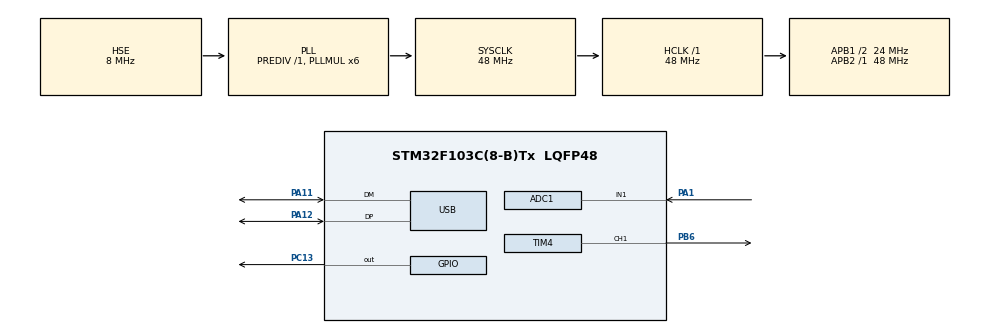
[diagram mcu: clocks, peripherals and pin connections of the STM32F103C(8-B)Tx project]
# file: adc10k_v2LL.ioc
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ADC1.Channel-0\#ChannelRegularConversion=ADC_CHANNEL_1
ADC1.ContinuousConvMode=DISABLE
ADC1.ExternalTrigConv=ADC_EXTERNALTRIGCONV_T3_TRGO
ADC1.NbrOfConversion=1
ADC1.NbrOfConversionFlag=1
ADC1.Rank-0\#ChannelRegularConversion=1
ADC1.SamplingTime-0\#ChannelRegularConversion=ADC_SAMPLETIME_55CYCLES_5
ADC1.master=1
Dma.ADC1.0.Direction=DMA_PERIPH_TO_MEMORY
Dma.ADC1.0.Instance=DMA1_Channel1
Dma.ADC1.0.MemDataAlignment=DMA_MDATAALIGN_HALFWORD
Dma.ADC1.0.MemInc=DMA_MINC_ENABLE
Dma.ADC1.0.Mode=DMA_CIRCULAR
Dma.ADC1.0.PeriphDataAlignment=DMA_PDATAALIGN_HALFWORD
Dma.ADC1.0.PeriphInc=DMA_PINC_DISABLE
Dma.ADC1.0.Priority=DMA_PRIORITY_LOW
Dma.Request0=ADC1
Mcu.Family=STM32F1
Mcu.Name=STM32F103C(8-B)Tx
Mcu.Package=LQFP48
NVIC.DMA1_Channel1_IRQn=true\:0\:0\:false\:false\:true\:false\:true
NVIC.PriorityGroup=NVIC_PRIORITYGROUP_4
NVIC.USB_LP_CAN1_RX0_IRQn=true\:0\:0\:false\:false\:true\:false\:true
PA1.Signal=ADCx_IN1
PA11.Mode=Device
PA11.Signal=USB_DM
PA12.Mode=Device
PA12.Signal=USB_DP
PA13.Mode=Serial_Wire
PA13.Signal=SYS_JTMS-SWDIO
PA14.Mode=Serial_Wire
PA14.Signal=SYS_JTCK-SWCLK
PB6.GPIO_ModeDefaultPP=GPIO_MODE_AF_PP
PB6.GPIO_Speed=GPIO_SPEED_FREQ_LOW
PB6.Signal=S_TIM4_CH1
PC13-TAMPER-RTC.Signal=GPIO_Output
PC14-OSC32_IN.Mode=LSE-External-Oscillator
PC14-OSC32_IN.Signal=RCC_OSC32_IN
PC15-OSC32_OUT.Mode=LSE-External-Oscillator
PC15-OSC32_OUT.Signal=RCC_OSC32_OUT
PD0-OSC_IN.Mode=HSE-External-Oscillator
PD0-OSC_IN.Signal=RCC_OSC_IN
PD1-OSC_OUT.Mode=HSE-External-Oscillator
PD1-OSC_OUT.Signal=RCC_OSC_OUT
ProjectManager.HeapSize=0x200
ProjectManager.StackSize=0x400
ProjectManager.TargetToolchain=MDK-ARM V5.27
RCC.ADCPresc=RCC_ADCPCLK2_DIV4
RCC.AHBFreq_Value=48000000
RCC.APB1CLKDivider=RCC_HCLK_DIV2
RCC.APB1Freq_Value=24000000
RCC.APB1TimFreq_Value=48000000
RCC.APB2Freq_Value=48000000
RCC.APB2TimFreq_Value=48000000
RCC.HCLKFreq_Value=48000000
RCC.PLLMUL=RCC_PLL_MUL6
RCC.PLLSourceVirtual=RCC_PLLSOURCE_HSE
RCC.SYSCLKFreq_VALUE=48000000
RCC.SYSCLKSource=RCC_SYSCLKSOURCE_PLLCLK
RCC.USBFreq_Value=48000000
SH.ADCx_IN1.0=ADC1_IN1,IN1
SH.S_TIM4_CH1.0=TIM4_CH1,PWM Generation1 CH1
TIM3.AutoReloadPreload=TIM_AUTORELOAD_PRELOAD_DISABLE
TIM3.Channel-Output\ Compare4\ No\ Output=TIM_CHANNEL_4
TIM3.Period=10
TIM3.Prescaler=480
TIM3.TIM_MasterOutputTrigger=TIM_TRGO_UPDATE
TIM4.Channel-PWM\ Generation1\ CH1=TIM_CHANNEL_1
TIM4.OCFastMode_PWM-PWM\ Generation1\ CH1=TIM_OCFAST_ENABLE
TIM4.Period=1000
TIM4.Prescaler=480
USB_DEVICE.CLASS_NAME_FS=CDC
USB_DEVICE.VirtualMode=Cdc
USB_DEVICE.VirtualModeFS=Cdc_FS
VP_TIM3_VS_ClockSourceINT.Mode=Internal
VP_TIM3_VS_no_output4.Mode=Output Compare4 No Output
VP_TIM4_VS_ClockSourceINT.Mode=Internal
VP_USB_DEVICE_VS_USB_DEVICE_CDC_FS.Mode=CDC_FS
board=custom

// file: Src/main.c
/* USER CODE BEGIN Header */
/**
  ******************************************************************************
  * @author         : Andrei Cherny
  * @file           : main.c
  * @brief          : Test STM32F103C8 program body
  ******************************************************************************
  * @details
  * Назначение программы:
  * С частотой 10 кГц, по таймеру, программа опрашивает один канал ADC
  * Результаты измерений помещаются в буфер с использованием DMA
  * По заполнению буфера (100 слов), вычисляется среднее значение за 10 мс
  * Полученное среднее значение выводится PWM на один из выводов.
  * Вычисляется среднее значение измерений за 1с и выводится через USB, на VCP в текстовом виде
  * Это же среднее значение выводится через SWO (по отладке) в среду Keil uVision.
  * Благодаря STM32CubeMX все делается достаточно просто. Большая часть программирования выполненна автоматической средой.
  * Ручной код получается очень компактным и весь сосредоточен в файле main.c .
  * Принцип работы платы очень прост. На вход ADC1 IN1 (PA1, pin11) поступает измеряемое напряжение. С помощью таймера TIM3 channel 4
  * организован циклический опрос ADC1 IN1 с частотой 10 кГц и загрузкой измеренных значений с помощью DMA1 в буфер. По заполнению буфера
  * вызывается HAL_ADC_ConvCpltCallback() и переводит переменную convCompleted в True.
  * После чего находим среднее арифметическое bufferADC за 10 мс.
  * Полученное значение мы выводим через pin PB6 используя PWM реализованный на таймере TIM4 channel 1.
  * Проведя 100 циклов по 10 мс мы находим среднее значение за 1с мы выводим результат через USB VCP в текстовом виде, в формате типа "1500 mV \r".
  * Вывод результата мы дублируем в окно отладчика Keil через SWD.
  * @attention
  *
  * <h2><center>&copy; Copyright (c) 2020 Andrei Cherny.
  * All rights reserved.</center></h2>
  *
  * This software component is licensed by Andrei Cherny under Ultimate Liberty license
  * SLA0044, the "License"; You may not use this file except in compliance with
  * the License. You may obtain a copy of the License at:
  *                             www.st.com/SLA0044
  *
  ******************************************************************************
*/
/* USER CODE END Header */

#include "main.h"
#include "usb_device.h"

/* USER CODE BEGIN Includes */
#include "string.h"
#include "usbd_cdc_if.h"
/* USER CODE END Includes */

/* USER CODE BEGIN PD */
#define DMA_BUFF_SIZE 100
/* USER CODE END PD */

ADC_HandleTypeDef hadc1;
DMA_HandleTypeDef hdma_adc1;

TIM_HandleTypeDef htim3;
TIM_HandleTypeDef htim4;

/* USER CODE BEGIN PV */
uint32_t sum100point;
uint16_t bufferADC[DMA_BUFF_SIZE];
volatile uint8_t convCompleted;
/* USER CODE END PV */

void SystemClock_Config(void);
static void MX_GPIO_Init(void);
static void MX_DMA_Init(void);
static void MX_ADC1_Init(void);
static void MX_TIM3_Init(void);
static void MX_TIM4_Init(void);
/* USER CODE BEGIN PFP */
// кусок для SWO
#include <stdio.h>
#define ITM_Port8(n)    (*((volatile unsigned char *)(0xE0000000+4*n)))
#define ITM_Port16(n)   (*((volatile unsigned short*)(0xE0000000+4*n)))
#define ITM_Port32(n)   (*((volatile unsigned long *)(0xE0000000+4*n)))
#define DEMCR           (*((volatile unsigned long *)(0xE000EDFC)))
#define TRCENA          0x01000000

struct __FILE { int handle; /* Add whatever you need here */ };
FILE __stdout;
FILE __stdin;

int fputc(int ch, FILE *f) {
   if (DEMCR & TRCENA) {

while (ITM_Port32(0) == 0);
    ITM_Port8(0) = ch;
  }
  return(ch);
}
/* USER CODE END PFP */

/**
  * @brief   Точка входа в программу
  * @retval int
  */
int main(void)
{
  /* USER CODE BEGIN 1 */
	float summ,value100;
	char bufForUSB[80];
	TIM_OC_InitTypeDef sConfigOC = {0};
    /* USER CODE END 1 */

  /* MCU Configuration--------------------------------------------------------*/

  /* Reset of all peripherals, Initializes the Flash interface and the Systick. */
  HAL_Init();

  /* Configure the system clock */
  SystemClock_Config();

  /*!
  Инициализируем всю периферию используя сгенерированные STM32CubeMX коды
  MX_GPIO_Init()       - выходы кристала
  MX_DMA_Init()        - канал DMA
  MX_USB_DEVICE_Init() - USB
  MX_ADC1_Init()       - АЦП
  MX_TIM3_Init()       - Таймер 3
  MX_TIM4_Init()       - Таймер 4
  */
  MX_GPIO_Init();
  MX_DMA_Init();
  MX_USB_DEVICE_Init();
  MX_ADC1_Init();
  MX_TIM3_Init();
  MX_TIM4_Init();
/* USER CODE BEGIN 2 */
/*!
Настраиваем ассоциированный с ADC1 канал DMA1
@param[out] bufferADC Целевая область памяти для DMA1
@param[in] hadc1 Дескриптор ADC1
@param[in] DMA_BUFF_SIZE Количество измерений и размер буффера
*/
  HAL_ADC_Start_DMA(&hadc1, (uint32_t*)bufferADC, DMA_BUFF_SIZE); // запускаем ADC
  HAL_TIM_Base_Start(&htim3); // пускаем таймер ADC
/*!
Настраиваем ассоциированный с PWM канал 1 на таймере 4
выходной сигнал имеем на ножке PB6
@param[in] sConfigOC.Pulse Уровень выходного сигнала
@param[in] htim4 Дескриптор таймера TIM4
*/
  sConfigOC.OCMode = TIM_OCMODE_PWM1; // настраиваем ШИМ
  sConfigOC.Pulse = 0;
  sConfigOC.OCPolarity = TIM_OCPOLARITY_HIGH;
  sConfigOC.OCFastMode = TIM_OCFAST_ENABLE;
  HAL_TIM_PWM_ConfigChannel(&htim4, &sConfigOC, TIM_CHANNEL_1);
  HAL_TIM_PWM_Start(&htim4, TIM_CHANNEL_1); // запускаем ШИМ

	 /* USER CODE END 2 */

  /* Infinite loop */
  while (1)
  {

    /* USER CODE BEGIN 3 */
/*! в задании не оговаривалась особая точность временных интервалов,
1 с отслеживаем как последовательность 10 мс интервалов
усредняем 100 10мс средних значения (1с) и выводим через USB-VPC
@param  sum100point аккумулятор и среднее значение ADC1 за 10 мс
@param  value100    среднее значение ADC1 за 10 мс в мВ
@param  summ        аккумулятор и среднее значение ADC1 в мВ за 1 с
*/
		sum100point =0;
		summ = 0;
		for (int j=0; j++<100;){
		while(!convCompleted); // ждем готовность измерений
		convCompleted = 0; // сбрасываем флаг готовности
		sum100point =0;
		for(int i = 0; i < DMA_BUFF_SIZE; i++)
		{
			sum100point = bufferADC[i];
		}
		sum100point /=100; // среднее за 10 мс в единицах
		value100 = (float)(sum100point * 3300 ) / 4095.;// нормируем по опорному
		summ += value100;
		// устанавливаем уровень ШИМ, пересчет масштаба не требуется
		 sConfigOC.Pulse = sum100point;
		 HAL_TIM_PWM_ConfigChannel(&htim4, &sConfigOC, TIM_CHANNEL_1);
	  }
		// кидаем результат на USB
		summ /=100;
		snprintf(bufForUSB, 80, " %f  mV \r", summ );
		CDC_Transmit_FS((uint8_t*)bufForUSB, strlen(bufForUSB));
		// дублируем вывод на SWD
		 printf("%s", bufForUSB);
	}
  /* USER CODE END 3 */
}

/**
  * @brief ADC CallBack function
  * @retval None
  */
void HAL_ADC_ConvCpltCallback(ADC_HandleTypeDef* hadc) {
    convCompleted = 1;
}

void SystemClock_Config(void)
{
  RCC_OscInitTypeDef RCC_OscInitStruct = {0};
  RCC_ClkInitTypeDef RCC_ClkInitStruct = {0};
  RCC_PeriphCLKInitTypeDef PeriphClkInit = {0};

  /** Initializes the CPU, AHB and APB busses clocks
  */
  RCC_OscInitStruct.OscillatorType = RCC_OSCILLATORTYPE_HSE;
  RCC_OscInitStruct.HSEState = RCC_HSE_ON;
  RCC_OscInitStruct.HSEPredivValue = RCC_HSE_PREDIV_DIV1;
  RCC_OscInitStruct.HSIState = RCC_HSI_ON;
  RCC_OscInitStruct.PLL.PLLState = RCC_PLL_ON;
  RCC_OscInitStruct.PLL.PLLSource = RCC_PLLSOURCE_HSE;
  RCC_OscInitStruct.PLL.PLLMUL = RCC_PLL_MUL6;
  if (HAL_RCC_OscConfig(&RCC_OscInitStruct) != HAL_OK)
  {
    Error_Handler();
  }
  /** Initializes the CPU, AHB and APB busses clocks
  */
  RCC_ClkInitStruct.ClockType = RCC_CLOCKTYPE_HCLK|RCC_CLOCKTYPE_SYSCLK
                              |RCC_CLOCKTYPE_PCLK1|RCC_CLOCKTYPE_PCLK2;
  RCC_ClkInitStruct.SYSCLKSource = RCC_SYSCLKSOURCE_PLLCLK;
  RCC_ClkInitStruct.AHBCLKDivider = RCC_SYSCLK_DIV1;
  RCC_ClkInitStruct.APB1CLKDivider = RCC_HCLK_DIV2;
  RCC_ClkInitStruct.APB2CLKDivider = RCC_HCLK_DIV1;

  if (HAL_RCC_ClockConfig(&RCC_ClkInitStruct, FLASH_LATENCY_1) != HAL_OK)
  {
    Error_Handler();
  }
  PeriphClkInit.PeriphClockSelection = RCC_PERIPHCLK_ADC|RCC_PERIPHCLK_USB;
  PeriphClkInit.AdcClockSelection = RCC_ADCPCLK2_DIV4;
  PeriphClkInit.UsbClockSelection = RCC_USBCLKSOURCE_PLL;
  if (HAL_RCCEx_PeriphCLKConfig(&PeriphClkInit) != HAL_OK)
  {
    Error_Handler();
  }
}

static void MX_ADC1_Init(void)
{

  ADC_ChannelConfTypeDef sConfig = {0};

  /** Common config
  */
  hadc1.Instance = ADC1;
  hadc1.Init.ScanConvMode = ADC_SCAN_DISABLE;
  hadc1.Init.ContinuousConvMode = DISABLE;
  hadc1.Init.DiscontinuousConvMode = DISABLE;
  hadc1.Init.ExternalTrigConv = ADC_EXTERNALTRIGCONV_T3_TRGO;
  hadc1.Init.DataAlign = ADC_DATAALIGN_RIGHT;
  hadc1.Init.NbrOfConversion = 1;
  if (HAL_ADC_Init(&hadc1) != HAL_OK)
  {
    Error_Handler();
  }
  /** Configure Regular Channel
  */
  sConfig.Channel = ADC_CHANNEL_1;
  sConfig.Rank = ADC_REGULAR_RANK_1;
  sConfig.SamplingTime = ADC_SAMPLETIME_55CYCLES_5;
  if (HAL_ADC_ConfigChannel(&hadc1, &sConfig) != HAL_OK)
  {
    Error_Handler();
  }

}

static void MX_TIM3_Init(void)
{

  TIM_ClockConfigTypeDef sClockSourceConfig = {0};
  TIM_MasterConfigTypeDef sMasterConfig = {0};
  TIM_OC_InitTypeDef sConfigOC = {0};

  htim3.Instance = TIM3;
  htim3.Init.Prescaler = 480;
  htim3.Init.CounterMode = TIM_COUNTERMODE_UP;
  htim3.Init.Period = 10;
  htim3.Init.ClockDivision = TIM_CLOCKDIVISION_DIV1;
  htim3.Init.AutoReloadPreload = TIM_AUTORELOAD_PRELOAD_DISABLE;
  if (HAL_TIM_Base_Init(&htim3) != HAL_OK)
  {
    Error_Handler();
  }
  sClockSourceConfig.ClockSource = TIM_CLOCKSOURCE_INTERNAL;
  if (HAL_TIM_ConfigClockSource(&htim3, &sClockSourceConfig) != HAL_OK)
  {
    Error_Handler();
  }
  if (HAL_TIM_OC_Init(&htim3) != HAL_OK)
  {
    Error_Handler();
  }
  sMasterConfig.MasterOutputTrigger = TIM_TRGO_UPDATE;
  sMasterConfig.MasterSlaveMode = TIM_MASTERSLAVEMODE_DISABLE;
  if (HAL_TIMEx_MasterConfigSynchronization(&htim3, &sMasterConfig) != HAL_OK)
  {
    Error_Handler();
  }
  sConfigOC.OCMode = TIM_OCMODE_TIMING;
  sConfigOC.Pulse = 0;
  sConfigOC.OCPolarity = TIM_OCPOLARITY_HIGH;
  sConfigOC.OCFastMode = TIM_OCFAST_DISABLE;
  if (HAL_TIM_OC_ConfigChannel(&htim3, &sConfigOC, TIM_CHANNEL_4) != HAL_OK)
  {
    Error_Handler();
  }

}

static void MX_TIM4_Init(void)
{

  TIM_ClockConfigTypeDef sClockSourceConfig = {0};
  TIM_MasterConfigTypeDef sMasterConfig = {0};
  TIM_OC_InitTypeDef sConfigOC = {0};

  htim4.Instance = TIM4;
  htim4.Init.Prescaler = 480;
  htim4.Init.CounterMode = TIM_COUNTERMODE_UP;
  htim4.Init.Period = 4095;  // масштабируем по ADC
  htim4.Init.ClockDivision = TIM_CLOCKDIVISION_DIV1;
  htim4.Init.AutoReloadPreload = TIM_AUTORELOAD_PRELOAD_DISABLE;
  if (HAL_TIM_Base_Init(&htim4) != HAL_OK)
  {
    Error_Handler();
  }
  sClockSourceConfig.ClockSource = TIM_CLOCKSOURCE_INTERNAL;
  if (HAL_TIM_ConfigClockSource(&htim4, &sClockSourceConfig) != HAL_OK)
  {
    Error_Handler();
  }
  if (HAL_TIM_PWM_Init(&htim4) != HAL_OK)
  {
    Error_Handler();
  }
  sMasterConfig.MasterOutputTrigger = TIM_TRGO_RESET;
  sMasterConfig.MasterSlaveMode = TIM_MASTERSLAVEMODE_DISABLE;
  if (HAL_TIMEx_MasterConfigSynchronization(&htim4, &sMasterConfig) != HAL_OK)
  {
    Error_Handler();
  }
  sConfigOC.OCMode = TIM_OCMODE_PWM1;
  sConfigOC.Pulse = 0;
  sConfigOC.OCPolarity = TIM_OCPOLARITY_HIGH;
  sConfigOC.OCFastMode = TIM_OCFAST_ENABLE;
  if (HAL_TIM_PWM_ConfigChannel(&htim4, &sConfigOC, TIM_CHANNEL_1) != HAL_OK)
  {
    Error_Handler();
  }
  HAL_TIM_MspPostInit(&htim4);

}

static void MX_DMA_Init(void)
{

  /* DMA controller clock enable */
  __HAL_RCC_DMA1_CLK_ENABLE();

  /* DMA interrupt init */
  /* DMA1_Channel1_IRQn interrupt configuration */
  HAL_NVIC_SetPriority(DMA1_Channel1_IRQn, 0, 0);
  HAL_NVIC_EnableIRQ(DMA1_Channel1_IRQn);

}

static void MX_GPIO_Init(void)
{
  GPIO_InitTypeDef GPIO_InitStruct = {0};

  /* GPIO Ports Clock Enable */
  __HAL_RCC_GPIOC_CLK_ENABLE();
  __HAL_RCC_GPIOD_CLK_ENABLE();
  __HAL_RCC_GPIOA_CLK_ENABLE();
  __HAL_RCC_GPIOB_CLK_ENABLE();

  /*Configure GPIO pin Output Level */
  HAL_GPIO_WritePin(GPIOC, GPIO_PIN_13, GPIO_PIN_RESET);

  /*Configure GPIO pin : PC13 */
  GPIO_InitStruct.Pin = GPIO_PIN_13;
  GPIO_InitStruct.Mode = GPIO_MODE_OUTPUT_PP;
  GPIO_InitStruct.Pull = GPIO_NOPULL;
  GPIO_InitStruct.Speed = GPIO_SPEED_FREQ_LOW;
  HAL_GPIO_Init(GPIOC, &GPIO_InitStruct);

}

void Error_Handler(void)
{
}

/************************ (C) COPYRIGHT STMicroelectronics *****END OF FILE****/
